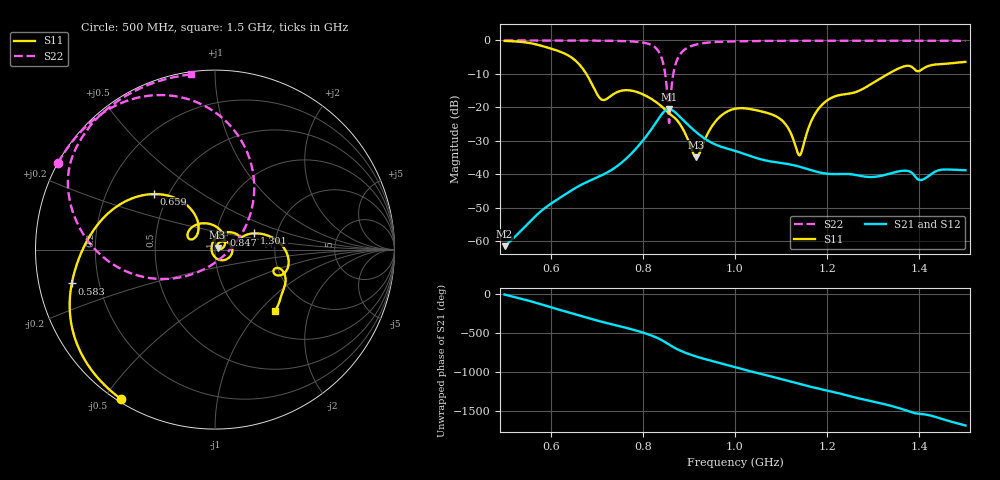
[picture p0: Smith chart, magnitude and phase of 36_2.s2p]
! TOUCHSTONE file generated by CST MICROWAVE STUDIO
! Date and time: Wed Oct 28 19:40:16 2020
! Project name: Scenario_1_Circular_Tissue_out_of_Line_v2.cst
! Parameters = {dy1=259.5; L_HA=400; MT=2.54; Rad_Dielectric=30; Rad_Lower=7.3; Rad_Upper=30; a_HA=580; a_WG=246; b_HA=500; b_WG=121; c_HA=0; c_WG=187; d_feed=85; dx1=346; h_feed=15; h_lower=18; h_upper=40}
! Header version: 2018
! Port assignment regex: !\s*Touchstone port\s*([0-9]+)\s*=\s*(CST MWS port|CST DS port)\s*([0-9]+|Zmin|Zmax)\s*\(\"(.*)\"\)(\s*mode\s*([0-9]+))?.*
! Touchstone port assignment:
! Touchstone port 1 = CST MWS port 1 ("")
! Touchstone port 2 = CST MWS port 2 ("")
# GHz S DB R 50
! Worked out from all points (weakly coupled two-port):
!   1003 points, 500 MHz to 1.5 GHz, reference 50 ohm
!   highest |S21| = -20.58 dB at 857 MHz (marker M1); lowest = -61.6 dB at 500 MHz (marker M2)
!   lowest |S11| = -35.0 dB at 916 MHz (marker M3), VSWR 1.04, Z = 51.5 + j1.04 ohm
!   |S11| at or under -10 dB: 677.2 MHz to 1.333 GHz (655.4 MHz wide, 65.2 % of centre)
!   |S22| runs from -24.7 to 0.0 dB; largest |S21 - S12| = 1.4e-05
!   S11 on the Smith chart (normalised r, x): 500 MHz: 0.01, -0.55; 583 MHz: 0.10, -0.12; 659 MHz: 0.41, +0.33; 847 MHz: 1.08, +0.18; 1.301 GHz: 1.52, +0.29; 1.5 GHz: 1.38, -1.22
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0.5  -0.15 -122.3  -61.57 -2.0  -61.57 -2.0  -0.01 151.1
0.583  -1.72 -166.7  -50.64 -134.7  -50.64 -134.7  -0.02 145.4
0.659  -6.72 137.9  -43.74 92.8  -43.74 92.8  -0.04 139.1
0.667  -7.97 131.1  -43.15 78.8  -43.15 78.8  -0.04 138.4
0.711  -17.73 139.8  -40.36 6.9  -40.36 6.9  -0.08 133.5
0.79  -15.57 119.5  -31.63 -113.4  -31.63 -113.4  -0.45 117.0
0.834  -18.98 74.6  -23.44 152.2  -23.44 152.2  -3.26 82.2
0.847  -20.50 60.1  -21.20 110.3  -21.20 110.3  -8.70 53.9
0.857  -21.80 49.7  -20.58 73.2  -20.58 73.2  -24.70 -51.6
0.867  -22.93 39.2  -21.16 37.8  -21.16 37.8  -9.35 -151.3
0.876  -24.19 27.3  -22.26 10.1  -22.26 10.1  -5.28 -169.2
0.916  -35.03 34.7  -27.47 -80.4  -27.47 -80.4  -1.23 159.7
0.957  -24.36 49.3  -31.12 -148.5  -31.12 -148.5  -0.48 147.5
1  -20.44 5.5  -33.05 143.2  -33.05 143.2  -0.28 140.2
1.096  -23.29 -60.0  -36.59 -3.6  -36.59 -3.6  -0.12 130.1
1.14  -34.40 -173.0  -37.78 -73.3  -37.78 -73.3  -0.11 126.3
1.167  -23.72 86.9  -38.91 -113.8  -38.91 -113.8  -0.10 124.2
1.204  -17.58 46.8  -39.93 -164.1  -39.93 -164.1  -0.09 121.3
1.301  -12.60 22.7  -40.84 57.8  -40.84 57.8  -0.08 114.0
1.334  -9.89 12.8  -39.92 11.9  -39.92 11.9  -0.09 111.4
1.403  -8.90 -16.5  -41.78 -99.0  -41.78 -99.0  -0.10 106.0
1.5  -6.42 -45.4  -38.84 112.2  -38.84 112.2  -0.13 97.9
